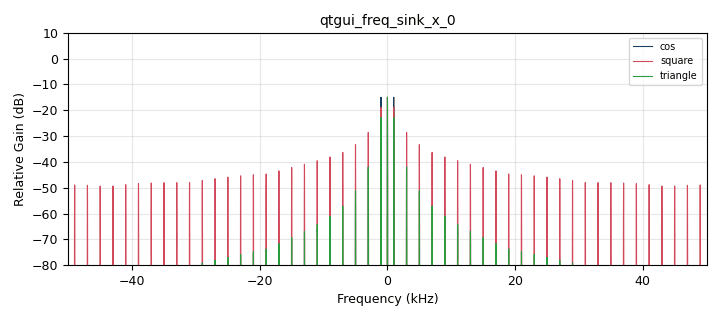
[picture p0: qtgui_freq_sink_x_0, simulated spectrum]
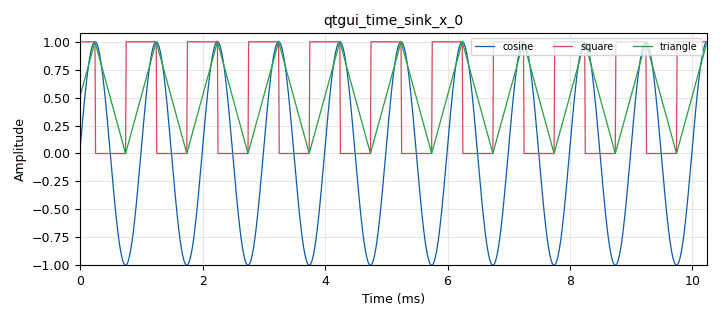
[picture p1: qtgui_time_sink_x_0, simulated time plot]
options:
  parameters:
    author: jason
    generate_options: qt_gui
    generator_class_name: PythonQtGuiGenerator
    generator_module: gnuradio.grc.workflows.python_qt_gui
    id: lesson03hw2_plots_square_triangle
    output_language: python
    title: complexPlotsMultiplyCosines
  states: {}

blocks:
- name: freq
  id: variable_qtgui_range
  parameters:
    start: '-samp_rate'
    step: '1'
    stop: samp_rate
    value: samp_rate/100
  states: {}
- name: samp_rate
  id: variable
  parameters:
    value: 100e3
  states: {}
- name: analog_sig_source_x_0
  id: analog_sig_source_x
  parameters:
    amp: '1'
    freq: freq
    offset: '0'
    phase: '0'
    samp_rate: samp_rate
    type: float
    waveform: analog.GR_COS_WAVE
  states: {}
- name: analog_sig_source_x_0_0
  id: analog_sig_source_x
  parameters:
    amp: '1'
    freq: freq
    offset: '0'
    phase: '0'
    samp_rate: samp_rate
    type: float
    waveform: analog.GR_SQR_WAVE
  states: {}
- name: analog_sig_source_x_0_0_0
  id: analog_sig_source_x
  parameters:
    amp: '1'
    freq: freq
    offset: '0'
    phase: '0'
    samp_rate: samp_rate
    type: float
    waveform: analog.GR_TRI_WAVE
  states: {}
- name: blocks_throttle_0
  id: blocks_throttle2
  parameters:
    samples_per_second: samp_rate
    type: float
  states: {}
- name: qtgui_freq_sink_x_0
  id: qtgui_freq_sink_x
  parameters:
    bw: samp_rate
    fc: '0'
    fftsize: 1024*8
    label1: cos
    label2: square
    label3: triangle
    nconnections: '3'
    type: float
    ymin: '-80'
  states: {}
- name: qtgui_time_sink_x_0
  id: qtgui_time_sink_x
  parameters:
    label1: cosine
    label2: square
    label3: triangle
    nconnections: '3'
    size: '1024'
    srate: samp_rate
    type: float
  states: {}

connections:
- [analog_sig_source_x_0, '0', blocks_throttle_0, '0']
- [analog_sig_source_x_0_0, '0', qtgui_freq_sink_x_0, '1']
- [analog_sig_source_x_0_0, '0', qtgui_time_sink_x_0, '1']
- [analog_sig_source_x_0_0_0, '0', qtgui_freq_sink_x_0, '2']
- [analog_sig_source_x_0_0_0, '0', qtgui_time_sink_x_0, '2']
- [blocks_throttle_0, '0', qtgui_freq_sink_x_0, '0']
- [blocks_throttle_0, '0', qtgui_time_sink_x_0, '0']

metadata:
  file_format: 1
  grc_version: 3.10.12.0
